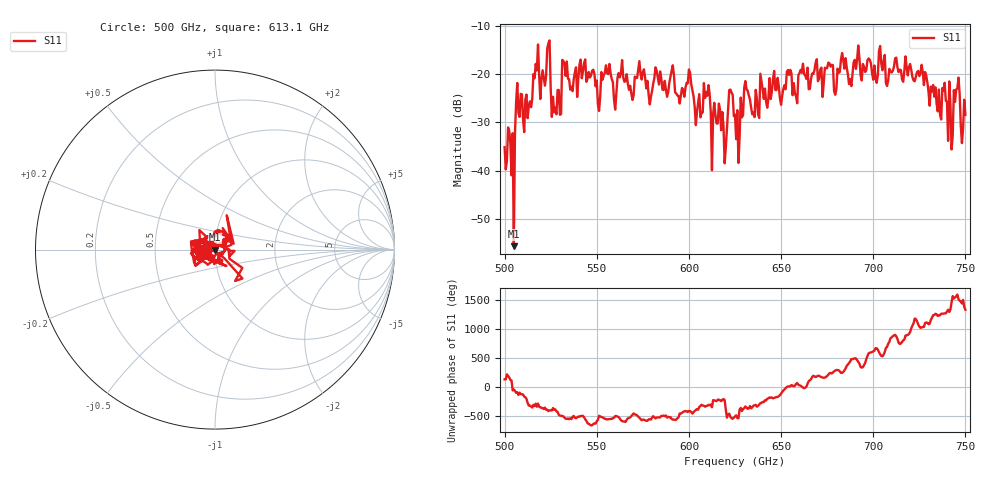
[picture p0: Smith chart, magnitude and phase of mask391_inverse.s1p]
!Created with skrf (http://scikit-rf.org).
# GHz S MA R 50.0
!freq magS11 angS11
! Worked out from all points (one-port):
!   401 points, 500 GHz to 750 GHz, reference 50 ohm
!   lowest |S11| = -55.6 dB at 505 GHz (marker M1), VSWR 1.00, Z = 50.1 - j0.118 ohm
!   |S11| at or under -10 dB: start of sweep to end of sweep
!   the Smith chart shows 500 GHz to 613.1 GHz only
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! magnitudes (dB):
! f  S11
! 500 GHz  -35.1
! 505 GHz  -55.6
! 507.5 GHz  -28.1
! 513.8 GHz  -25.7
! 516.9 GHz  -17.9
! 520.6 GHz  -19.2
! 523.8 GHz  -13.7
! 526.9 GHz  -27.9
! 531.2 GHz  -17.1
! 559.4 GHz  -25.4
! 562.5 GHz  -20.7
! 593.8 GHz  -24.4
! 609.4 GHz  -23.7
! 618.8 GHz  -30.7
! 622.5 GHz  -23.2
! 625 GHz  -28.4
! 628.1 GHz  -24.9
! 631.2 GHz  -23.2
! 634.4 GHz  -28.3
! 656.2 GHz  -24.4
! 680 GHz  -23.2
! 683.8 GHz  -17.2
! 687.5 GHz  -21.0
! 718.8 GHz  -20.3
! 738.8 GHz  -21.8
! 741.9 GHz  -26.4
! 745 GHz  -23.2
! 750 GHz  -28.4
